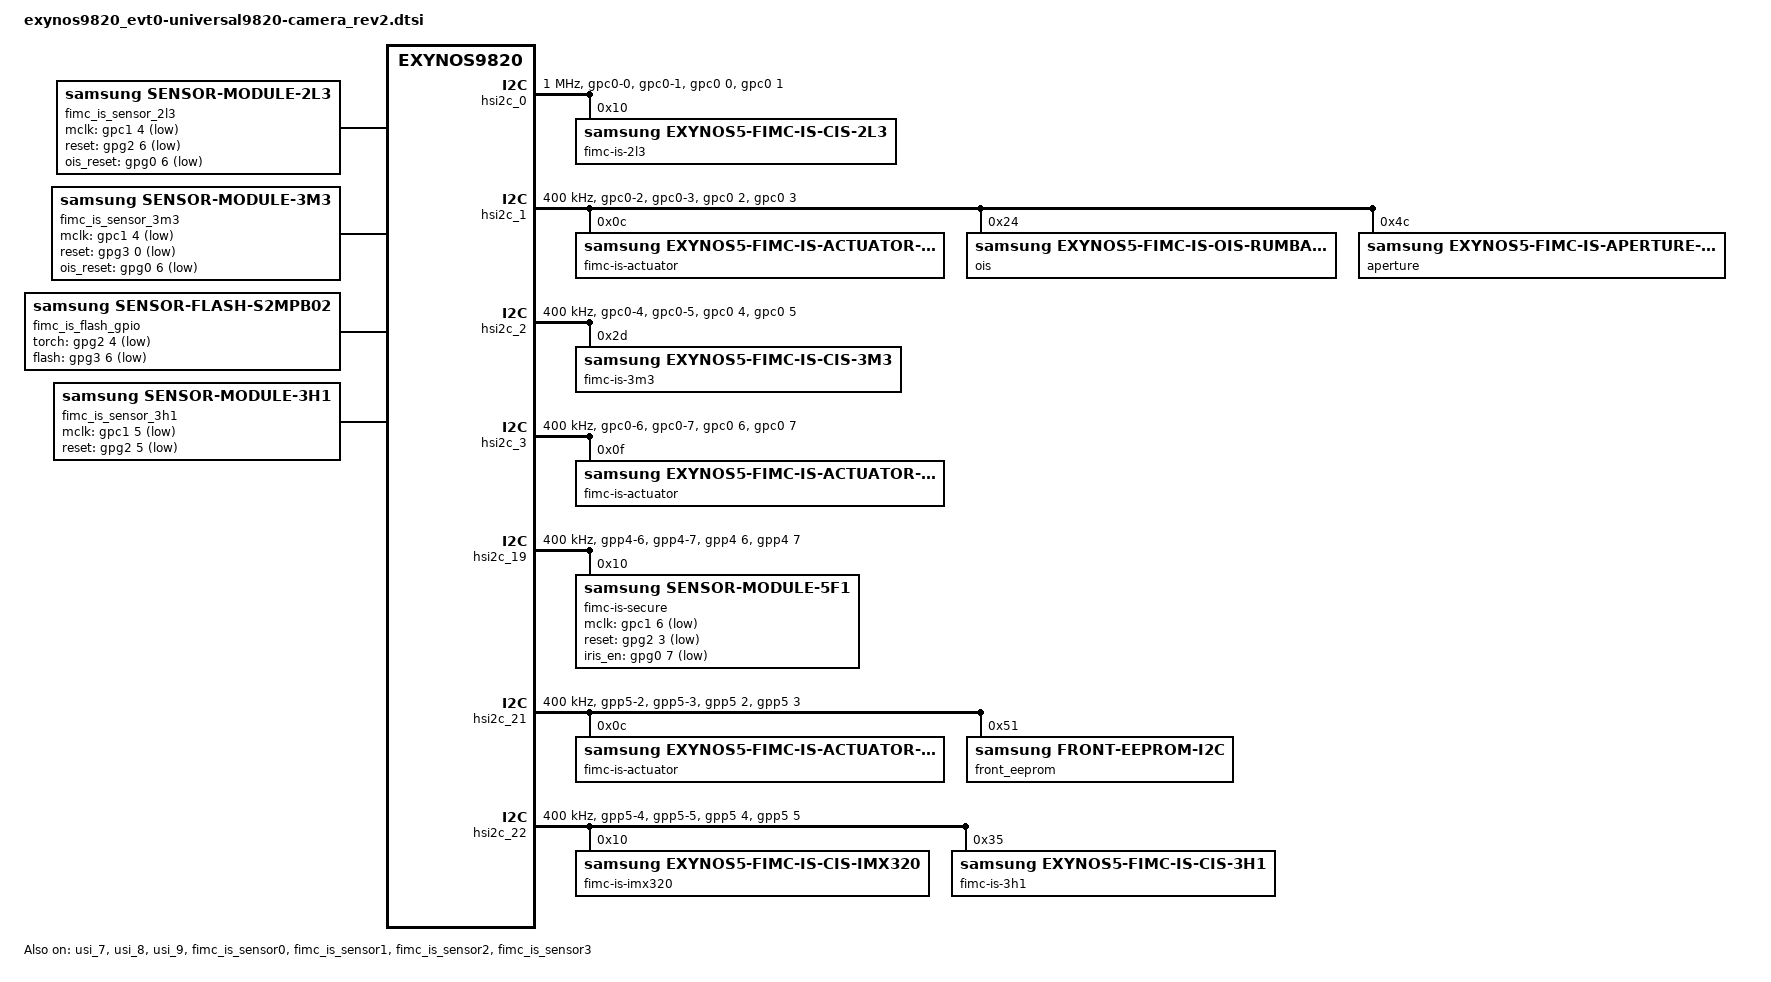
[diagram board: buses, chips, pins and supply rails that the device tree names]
/*
 * SAMSUNG EXYNOS9820 board camera device tree source
 *
 * Copyright (c) 2018 Samsung Electronics Co., Ltd.
 *		http://www.samsung.com
 *
 * This program is free software; you can redistribute it and/or modify
 * it under the terms of the GNU General Public License version 2 as
 * published by the Free Software Foundation.
*/

#include <dt-bindings/camera/fimc_is.h>

/ {
	fragment@camera {
		target-path = "/";
		__overlay__ {
			/* REAR CAMERA */
			fimc_is_sensor_2l3: fimc-is_sensor_2l3@20 {
				compatible = "samsung,sensor-module-2l3";

				pinctrl-names = "pin0", "pin1", "pin2", "release";
				pinctrl-0 = <>;
				pinctrl-1 = <&sensor_mclk0_out>;
				pinctrl-2 = <&sensor_mclk0_fn>;
				pinctrl-3 = <>;

				position = <0>;	/* Rear:0. Front:1. Rear_sub:2. Secure:3. */
				id = <0>; /* fimc_is_sensor id */
				mclk_ch = <0>;
				sensor_i2c_ch = <0>; /* XI2C_CAM0 */

				gpio_mclk = <&gpc1 4 0x1>;
				gpio_reset = <&gpg2 6 0x1>; /* sensor reset */
				gpio_ois_reset = <&gpg0 6 0x1>; /* ois reset */

				status = "okay";

				af {
					product_name = <18>; /* ACTUATOR_NAME_AK737X : ak7371 or ak7374 */
					i2c_ch = <1>; /* XI2C_CAM1 */
				};

				flash {
					product_name = <11>; /* FLASH_GPIO */
				};

				ois {
					product_name = <2>; /* RUMBA-S6 */
					i2c_addr = <0x48>;
					i2c_ch = <1>; /* XI2C_CAM1 */
				};

				aperture {
					product_name = <1>; /* ak7372 */
					i2c_addr = <0x98>;
					i2c_ch = <1>; /* XI2C_CAM1 */
				};
			};

			/* REAR2 CAMERA */
			fimc_is_sensor_3m3: fimc-is_sensor_3m3@5A {
				compatible = "samsung,sensor-module-3m3";

				pinctrl-names = "pin0", "pin1", "pin2", "release";
				pinctrl-0 = <>;
				pinctrl-1 = <>;
				pinctrl-2 = <>;
				pinctrl-3 = <>;

				position = <2>; /* Rear:0. Front:1, Tele:2 */
				id = <2>; /* fimc_is_sensor id */
				mclk_ch = <0>;
				sensor_i2c_ch = <2>; /* XI2C_CAM2 */

				gpio_mclk = <&gpc1 4 0x1>; /* mclk shared with wide-cam */
				gpio_reset = <&gpg3 0 0x1>; /* sensor reset */
				gpio_ois_reset = <&gpg0 6 0x1>; /* ois reset */

				power_seq_id = <1>;

				status = "okay";

				af {
					product_name = <18>; /* ACTUATOR_NAME_AK737X : ak7371 or ak7374 */
					i2c_ch = <3>; /* XI2C_CAM3 */
				};

				flash {
					product_name = <11>; /* FLASH_GPIO */
				};

				preprocessor {
					product_name = <100>; /* NOTHING */
				};

				ois {
					product_name = <2>; /* RUMBA-S6 */
					i2c_addr = <0x48>;
					i2c_ch = <1>; /* XI2C_CAM1 */
				};
			};

			fimc_is_flash_gpio: fimc-is-flash-gpio@0 {
				compatible = "samsung,sensor-flash-s2mpb02";
				id = <0>;
				status = "okay";

				torch-gpio = <&gpg2 4 0x1>;
				flash-gpio = <&gpg3 6 0x1>;
			};

			/* FRONT CAMERA */
			fimc_is_sensor_3h1: fimc-is_sensor_3h1@6A {
				compatible = "samsung,sensor-module-3h1";

				pinctrl-names = "pin0", "pin1", "pin2", "release";
				pinctrl-0 = <>;
				pinctrl-1 = <&sensor_mclk1_out>;
				pinctrl-2 = <&sensor_mclk1_fn>;
				pinctrl-3 = <>;

				position = <1>;	/* Rear:0. Front:1. Rear_sub:2. Secure:3. */
				id = <1>; /* fimc_is_sensor id */
				mclk_ch = <1>;
				sensor_i2c_ch = <4>; /* USI08 */

				gpio_mclk = <&gpc1 5 0x1>;
				gpio_reset = <&gpg2 5 0x1>; /* sensor reset */
				status = "okay";

				af {
					product_name = <18>; /* ACTUATOR_NAME_AK737X : ak7372 */
					i2c_ch = <5>; /* USI09 */
				};

				flash {
					product_name = <100>; /* NOTHING */
				};

				ois {
					product_name = <100>; /* NOTHING */
				};
			};
		}; /* end of __overlay__ */
	}; /* end of fragment */
}; /* end of root */

/***** reference symbol node *****/

&fimc_is {
	vender {
		rear_sensor_id = <36>; /* 2L3 : 36 */
		front_sensor_id = <31>; /* 3H1 : 31 */
		rear2_sensor_id = <33>; /* 3M3 : 33 */
		secure_sensor_id = <306>; /* 5F1 : 306 */
		use_module_check;
		use_ois;
		check_sensor_vendor;
		f_rom_power = <0>; /* 0:Wide, 1:Tele */
		ois_sensor_index = <0>;
		aperture_sensor_index = <0>;

		max_camera_num = <4>;
		camera_info0 {			// 0 : rear
			isp = <0>;		/* 0 : INT , 1 : EXT , 2 : SOC */
			cal_memory = <1>;	/* 0 : N , 1 : FROM , 2 : EEPROM , 3 : OTP  */
			read_version = <0>;	/* 0 : SYSFS , 1 : CAMON */
			core_voltage = <0>;	/* 0 : N , 1 : Y  */
			upgrade = <0>;		/* 0 : N , 1 : SYSFS , 2 : CAMON */
			fw_write = <0>;		/* 0 : N,  1 : OS, 2 : SD, 3 : ALL */
			fw_dump = <0>;		/* 0 : N , 1 : Y  */
			companion = <0>;	/* 0 : N , 1 : Y  */
			ois = <1>;		/* 0 : N , 1 : Y  */
			valid = <1>;		/* 0 : INVALID , 1 : VALID   */
		};
		camera_info1 {			// 1 : front
			isp = <0>;		/* 0 : INT , 1 : EXT , 2 : SOC */
			cal_memory = <2>;	/* 0 : N , 1 : FROM , 2 : EEPROM , 3 : OTP  */
			read_version = <0>;	/* 0 : SYSFS , 1 : CAMON */
			core_voltage = <0>;	/* 0 : N , 1 : Y  */
			upgrade = <0>;		/* 0 : N , 1 : SYSFS , 2 : CAMON */
			fw_write = <0>;		/* 0 : N,  1 : OS, 2 : SD, 3 : ALL */
			fw_dump = <0>;		/* 0 : N , 1 : Y  */
			companion = <0>;	/* 0 : N , 1 : Y  */
			ois = <0>;		/* 0 : N , 1 : Y  */
			valid = <1>;		/* 0 : INVALID , 1 : VALID   */
		};
		camera_info2 {			// 2 : tele
			isp = <0>;              /* 0 : INT , 1 : EXT , 2 : SOC */
			cal_memory = <1>;       /* 0 : N , 1 : FROM , 2 : EEPROM , 3 : OTP  */
			read_version = <0>;     /* 0 : SYSFS , 1 : CAMON */
			core_voltage = <0>;     /* 0 : N , 1 : Y  */
			upgrade = <0>;          /* 0 : N , 1 : SYSFS , 2 : CAMON */
			fw_write = <0>;         /* 0 : N,  1 : OS, 2 : SD, 3 : ALL */
			fw_dump = <0>;          /* 0 : N , 1 : Y  */
			companion = <0>;        /* 0 : N , 1 : Y  */
			ois = <1>;              /* 0 : N , 1 : Y  */
			valid = <1>;            /* 0 : INVALID , 1 : VALID   */
		};
		camera_info3 {			// 3 : iris
			isp = <2>;		/* 0 : INT , 1 : EXT , 2 : SOC */
			cal_memory = <0>;	/* 0 : N , 1 : FROM , 2 : EEPROM , 3 : OTP  */
			read_version = <1>;	/* 0 : SYSFS , 1 : CAMON */
			core_voltage = <0>;	/* 0 : N , 1 : Y  */
			upgrade = <0>;		/* 0 : N , 1 : SYSFS , 2 : CAMON */
			fw_write = <0>;		/* 0 : N,  1 : OS, 2 : SD, 3 : ALL */
			fw_dump = <0>;		/* 0 : N , 1 : Y  */
			companion = <0>;	/* 0 : N , 1 : Y  */
			ois = <0>;		/* 0 : N , 1 : Y  */
			valid = <1>;		/* 0 : INVALID , 1 : VALID   */
		};
	};

	fimc_is_dvfs {
		#define DVFS_INT_CAM_L0 690000
		#define DVFS_INT_CAM_L1 680000
		#define DVFS_INT_CAM_L2 670000
		#define DVFS_INT_CAM_L3 660000
		#define DVFS_INT_CAM_L4 650000

		#define DVFS_INT_L0 534000
		#define DVFS_INT_L1 400000
		#define DVFS_INT_L2 267000
		#define DVFS_INT_L3 200000
		#define DVFS_INT_L4 100000

		#define DVFS_CAM_L0 690000
		#define DVFS_CAM_L1 680000
		#define DVFS_CAM_L2 670000
		#define DVFS_CAM_L3 660000
		#define DVFS_CAM_L4 650000

		#define DVFS_MIF_L0 2094000
		#define DVFS_MIF_L1 2093000
		#define DVFS_MIF_L2 1794000
		#define DVFS_MIF_L3 1539000
		#define DVFS_MIF_L4 1352000
		#define DVFS_MIF_L5 1014000
		#define DVFS_MIF_L6 845000
		#define DVFS_MIF_L7 676000
		#define DVFS_MIF_L8 546000
		#define DVFS_MIF_L9 421000

		table0 {
			desc = "dvfs table v0.2 for 12M/8M";

			default_int_cam = <DVFS_INT_CAM_L0>;
			default_cam = <DVFS_CAM_L0>;
			default_mif = <DVFS_MIF_L0>;
			default_int = <DVFS_INT_L4>;
			default_hpg = <1>;

			front2_preview_int_cam = <DVFS_INT_CAM_L3>;
			front2_preview_cam = <DVFS_CAM_L3>;
			front2_preview_mif = <DVFS_MIF_L4>;
			front2_preview_int = <DVFS_INT_L4>;
			front2_preview_hpg = <1>;

			front2_capture_int_cam = <DVFS_INT_CAM_L3>;
			front2_capture_cam = <DVFS_CAM_L3>;
			front2_capture_mif = <DVFS_MIF_L4>;
			front2_capture_int = <DVFS_INT_L4>;
			front2_capture_hpg = <1>;

			front2_video_int_cam = <DVFS_INT_CAM_L3>;
			front2_video_cam = <DVFS_CAM_L3>;
			front2_video_mif = <DVFS_MIF_L4>;
			front2_video_int = <DVFS_INT_L4>;
			front2_video_hpg = <1>;

			front2_video_capture_int_cam = <DVFS_INT_CAM_L3>;
			front2_video_capture_cam = <DVFS_CAM_L3>;
			front2_video_capture_mif = <DVFS_MIF_L4>;
			front2_video_capture_int = <DVFS_INT_L4>;
			front2_video_capture_hpg = <1>;

			front_preview_int_cam = <DVFS_INT_CAM_L3>;
			front_preview_cam = <DVFS_CAM_L3>;
			front_preview_mif = <DVFS_MIF_L4>;
			front_preview_int = <DVFS_INT_L4>;
			front_preview_hpg = <1>;

			front_preview_full_int_cam = <DVFS_INT_CAM_L3>;
			front_preview_full_cam = <DVFS_CAM_L3>;
			front_preview_full_mif = <DVFS_MIF_L4>;
			front_preview_full_int = <DVFS_INT_L4>;
			front_preview_full_hpg = <1>;

			front_capture_int_cam = <DVFS_INT_CAM_L3>;
			front_capture_cam = <DVFS_CAM_L3>;
			front_capture_mif = <DVFS_MIF_L4>;
			front_capture_int = <DVFS_INT_L4>;
			front_capture_hpg = <1>;

			front_video_int_cam = <DVFS_INT_CAM_L3>;
			front_video_cam = <DVFS_CAM_L3>;
			front_video_mif = <DVFS_MIF_L4>;
			front_video_int = <DVFS_INT_L4>;
			front_video_hpg = <1>;

			front_video_whd_int_cam = <DVFS_INT_CAM_L3>;
			front_video_whd_cam = <DVFS_CAM_L3>;
			front_video_whd_mif = <DVFS_MIF_L4>;
			front_video_whd_int = <DVFS_INT_L4>;
			front_video_whd_hpg = <1>;

			front_video_capture_int_cam = <DVFS_INT_CAM_L3>;
			front_video_capture_cam = <DVFS_CAM_L3>;
			front_video_capture_mif = <DVFS_MIF_L4>;
			front_video_capture_int = <DVFS_INT_L4>;
			front_video_capture_hpg = <1>;

			front_video_whd_capture_int_cam = <DVFS_INT_CAM_L3>;
			front_video_whd_capture_cam = <DVFS_CAM_L3>;
			front_video_whd_capture_mif = <DVFS_MIF_L4>;
			front_video_whd_capture_int = <DVFS_INT_L4>;
			front_video_whd_capture_hpg = <1>;

			front_dual_sync_preview_int_cam = <DVFS_INT_CAM_L1>;
			front_dual_sync_preview_cam = <DVFS_CAM_L1>;
			front_dual_sync_preview_mif = <DVFS_MIF_L4>;
			front_dual_sync_preview_int = <DVFS_INT_L4>;
			front_dual_sync_preview_hpg = <1>;

			front_dual_sync_capture_int_cam = <DVFS_INT_CAM_L1>;
			front_dual_sync_capture_cam = <DVFS_CAM_L1>;
			front_dual_sync_capture_mif = <DVFS_MIF_L3>;
			front_dual_sync_capture_int = <DVFS_INT_L4>;
			front_dual_sync_capture_hpg = <1>;

			front_dual_sync_video_fhd_int_cam = <DVFS_INT_CAM_L1>;
			front_dual_sync_video_fhd_cam = <DVFS_CAM_L1>;
			front_dual_sync_video_fhd_mif = <DVFS_MIF_L4>;
			front_dual_sync_video_fhd_int = <DVFS_INT_L4>;
			front_dual_sync_video_fhd_hpg = <1>;

			front_dual_sync_video_fhd_capture_int_cam = <DVFS_INT_CAM_L1>;
			front_dual_sync_video_fhd_capture_cam = <DVFS_CAM_L1>;
			front_dual_sync_video_fhd_capture_mif = <DVFS_MIF_L3>;
			front_dual_sync_video_fhd_capture_int = <DVFS_INT_L4>;
			front_dual_sync_video_fhd_capture_hpg = <1>;

			front_vt1_int_cam = <DVFS_INT_CAM_L3>;
			front_vt1_cam = <DVFS_CAM_L3>;
			front_vt1_mif = <DVFS_MIF_L4>;
			front_vt1_int = <DVFS_INT_L4>;
			front_vt1_hpg = <1>;

			front_vt2_int_cam = <DVFS_INT_CAM_L3>;
			front_vt2_cam = <DVFS_CAM_L3>;
			front_vt2_mif = <DVFS_MIF_L4>;
			front_vt2_int = <DVFS_INT_L4>;
			front_vt2_hpg = <1>;

			front_vt4_int_cam = <DVFS_INT_CAM_L3>;
			front_vt4_cam = <DVFS_CAM_L3>;
			front_vt4_mif = <DVFS_MIF_L4>;
			front_vt4_int = <DVFS_INT_L4>;
			front_vt4_hpg = <1>;

			front_preview_high_speed_fps_int_cam = <DVFS_INT_CAM_L3>;
			front_preview_high_speed_fps_cam = <DVFS_CAM_L3>;
			front_preview_high_speed_fps_mif = <DVFS_MIF_L4>;
			front_preview_high_speed_fps_int = <DVFS_INT_L4>;
			front_preview_high_speed_fps_hpg = <1>;

			rear2_preview_fhd_int_cam = <DVFS_INT_CAM_L3>;
			rear2_preview_fhd_cam = <DVFS_CAM_L1>;
			rear2_preview_fhd_mif = <DVFS_MIF_L4>;
			rear2_preview_fhd_int = <DVFS_INT_L4>;
			rear2_preview_fhd_hpg = <1>;

			rear2_capture_int_cam = <DVFS_INT_CAM_L1>;
			rear2_capture_cam = <DVFS_CAM_L1>;
			rear2_capture_mif = <DVFS_MIF_L4>;
			rear2_capture_int = <DVFS_INT_L4>;
			rear2_capture_hpg = <1>;

			rear2_video_fhd_int_cam = <DVFS_INT_CAM_L3>;
			rear2_video_fhd_cam = <DVFS_CAM_L1>;
			rear2_video_fhd_mif = <DVFS_MIF_L4>;
			rear2_video_fhd_int = <DVFS_INT_L4>;
			rear2_video_fhd_hpg = <1>;

			rear2_video_fhd_capture_int_cam = <DVFS_INT_CAM_L1>;
			rear2_video_fhd_capture_cam = <DVFS_CAM_L1>;
			rear2_video_fhd_capture_mif = <DVFS_MIF_L4>;
			rear2_video_fhd_capture_int = <DVFS_INT_L4>;
			rear2_video_fhd_capture_hpg = <1>;

			rear_preview_fhd_int_cam = <DVFS_INT_CAM_L3>;
			rear_preview_fhd_cam = <DVFS_CAM_L1>;
			rear_preview_fhd_mif = <DVFS_MIF_L4>;
			rear_preview_fhd_int = <DVFS_INT_L4>;
			rear_preview_fhd_hpg = <1>;

			rear_preview_whd_int_cam = <DVFS_INT_CAM_L3>;
			rear_preview_whd_cam = <DVFS_CAM_L1>;
			rear_preview_whd_mif = <DVFS_MIF_L4>;
			rear_preview_whd_int = <DVFS_INT_L4>;
			rear_preview_whd_hpg = <1>;

			rear_preview_uhd_int_cam = <DVFS_INT_CAM_L3>;
			rear_preview_uhd_cam = <DVFS_CAM_L1>;
			rear_preview_uhd_mif = <DVFS_MIF_L4>;
			rear_preview_uhd_int = <DVFS_INT_L4>;
			rear_preview_uhd_hpg = <1>;

			rear_preview_uhd_60fps_int_cam = <DVFS_INT_CAM_L1>;
			rear_preview_uhd_60fps_cam = <DVFS_CAM_L1>;
			rear_preview_uhd_60fps_mif = <DVFS_MIF_L3>;
			rear_preview_uhd_60fps_int = <DVFS_INT_L4>;
			rear_preview_uhd_60fps_hpg = <1>;

			rear_preview_full_int_cam = <DVFS_INT_CAM_L3>;
			rear_preview_full_cam = <DVFS_CAM_L1>;
			rear_preview_full_mif = <DVFS_MIF_L4>;
			rear_preview_full_int = <DVFS_INT_L4>;
			rear_preview_full_hpg = <1>;

			rear_capture_int_cam = <DVFS_INT_CAM_L1>;
			rear_capture_cam = <DVFS_CAM_L1>;
			rear_capture_mif = <DVFS_MIF_L4>;
			rear_capture_int = <DVFS_INT_L4>;
			rear_capture_hpg = <1>;

			rear_video_fhd_int_cam = <DVFS_INT_CAM_L3>;
			rear_video_fhd_cam = <DVFS_CAM_L1>;
			rear_video_fhd_mif = <DVFS_MIF_L4>;
			rear_video_fhd_int = <DVFS_INT_L4>;
			rear_video_fhd_hpg = <1>;

			rear_video_whd_int_cam = <DVFS_INT_CAM_L3>;
			rear_video_whd_cam = <DVFS_CAM_L1>;
			rear_video_whd_mif = <DVFS_MIF_L4>;
			rear_video_whd_int = <DVFS_INT_L4>;
			rear_video_whd_hpg = <1>;

			rear_video_uhd_int_cam = <DVFS_INT_CAM_L3>;
			rear_video_uhd_cam = <DVFS_CAM_L1>;
			rear_video_uhd_mif = <DVFS_MIF_L4>;
			rear_video_uhd_int = <DVFS_INT_L4>;
			rear_video_uhd_hpg = <1>;

			rear_video_uhd_60fps_int_cam = <DVFS_INT_CAM_L1>;
			rear_video_uhd_60fps_cam = <DVFS_CAM_L1>;
			rear_video_uhd_60fps_mif = <DVFS_MIF_L3>;
			rear_video_uhd_60fps_int = <DVFS_INT_L4>;
			rear_video_uhd_60fps_hpg = <1>;

			rear_video_fhd_capture_int_cam = <DVFS_INT_CAM_L1>;
			rear_video_fhd_capture_cam = <DVFS_CAM_L1>;
			rear_video_fhd_capture_mif = <DVFS_MIF_L4>;
			rear_video_fhd_capture_int = <DVFS_INT_L4>;
			rear_video_fhd_capture_hpg = <1>;

			rear_video_whd_capture_int_cam = <DVFS_INT_CAM_L1>;
			rear_video_whd_capture_cam = <DVFS_CAM_L1>;
			rear_video_whd_capture_mif = <DVFS_MIF_L4>;
			rear_video_whd_capture_int = <DVFS_INT_L4>;
			rear_video_whd_capture_hpg = <1>;

			rear_video_uhd_capture_int_cam = <DVFS_INT_CAM_L1>;
			rear_video_uhd_capture_cam = <DVFS_CAM_L1>;
			rear_video_uhd_capture_mif = <DVFS_MIF_L4>;
			rear_video_uhd_capture_int = <DVFS_INT_L4>;
			rear_video_uhd_capture_hpg = <1>;

			dual_preview_int_cam = <DVFS_INT_CAM_L3>;
			dual_preview_cam = <DVFS_CAM_L1>;
			dual_preview_mif = <DVFS_MIF_L4>;
			dual_preview_int = <DVFS_INT_L4>;
			dual_preview_hpg = <1>;

			dual_capture_int_cam = <DVFS_INT_CAM_L1>;
			dual_capture_cam = <DVFS_CAM_L1>;
			dual_capture_mif = <DVFS_MIF_L4>;
			dual_capture_int = <DVFS_INT_L4>;
			dual_capture_hpg = <1>;

			dual_video_fhd_int_cam = <DVFS_INT_CAM_L3>;
			dual_video_fhd_cam = <DVFS_CAM_L1>;
			dual_video_fhd_mif = <DVFS_MIF_L4>;
			dual_video_fhd_int = <DVFS_INT_L4>;
			dual_video_fhd_hpg = <1>;

			dual_video_fhd_capture_int_cam = <DVFS_INT_CAM_L1>;
			dual_video_fhd_capture_cam = <DVFS_CAM_L1>;
			dual_video_fhd_capture_mif = <DVFS_MIF_L4>;
			dual_video_fhd_capture_int = <DVFS_INT_L4>;
			dual_video_fhd_capture_hpg = <1>;

			dual_video_uhd_int_cam = <DVFS_INT_CAM_L3>;
			dual_video_uhd_cam = <DVFS_CAM_L1>;
			dual_video_uhd_mif = <DVFS_MIF_L4>;
			dual_video_uhd_int = <DVFS_INT_L4>;
			dual_video_uhd_hpg = <1>;

			dual_video_uhd_capture_int_cam = <DVFS_INT_CAM_L1>;
			dual_video_uhd_capture_cam = <DVFS_CAM_L1>;
			dual_video_uhd_capture_mif = <DVFS_MIF_L4>;
			dual_video_uhd_capture_int = <DVFS_INT_L4>;
			dual_video_uhd_capture_hpg = <1>;

			dual_sync_preview_int_cam = <DVFS_INT_CAM_L1>;
			dual_sync_preview_cam = <DVFS_CAM_L1>;
			dual_sync_preview_mif = <DVFS_MIF_L4>;
			dual_sync_preview_int = <DVFS_INT_L4>;
			dual_sync_preview_hpg = <1>;

			dual_sync_capture_int_cam = <DVFS_INT_CAM_L1>;
			dual_sync_capture_cam = <DVFS_CAM_L1>;
			dual_sync_capture_mif = <DVFS_MIF_L3>;
			dual_sync_capture_int = <DVFS_INT_L4>;
			dual_sync_capture_hpg = <1>;

			dual_sync_preview_whd_int_cam = <DVFS_INT_CAM_L1>;
			dual_sync_preview_whd_cam = <DVFS_CAM_L1>;
			dual_sync_preview_whd_mif = <DVFS_MIF_L3>;
			dual_sync_preview_whd_int = <DVFS_INT_L4>;
			dual_sync_preview_whd_hpg = <1>;

			dual_sync_whd_capture_int_cam = <DVFS_INT_CAM_L1>;
			dual_sync_whd_capture_cam = <DVFS_CAM_L1>;
			dual_sync_whd_capture_mif = <DVFS_MIF_L3>;
			dual_sync_whd_capture_int = <DVFS_INT_L4>;
			dual_sync_whd_capture_hpg = <1>;

			dual_sync_video_fhd_int_cam = <DVFS_INT_CAM_L1>;
			dual_sync_video_fhd_cam = <DVFS_CAM_L1>;
			dual_sync_video_fhd_mif = <DVFS_MIF_L4>;
			dual_sync_video_fhd_int = <DVFS_INT_L4>;
			dual_sync_video_fhd_hpg = <1>;

			dual_sync_video_fhd_capture_int_cam = <DVFS_INT_CAM_L1>;
			dual_sync_video_fhd_capture_cam = <DVFS_CAM_L1>;
			dual_sync_video_fhd_capture_mif = <DVFS_MIF_L3>;
			dual_sync_video_fhd_capture_int = <DVFS_INT_L4>;
			dual_sync_video_fhd_capture_hpg = <1>;

			dual_sync_video_uhd_int_cam = <DVFS_INT_CAM_L1>;
			dual_sync_video_uhd_cam = <DVFS_CAM_L1>;
			dual_sync_video_uhd_mif = <DVFS_MIF_L4>;
			dual_sync_video_uhd_int = <DVFS_INT_L4>;
			dual_sync_video_uhd_hpg = <1>;

			dual_sync_video_uhd_capture_int_cam = <DVFS_INT_CAM_L1>;
			dual_sync_video_uhd_capture_cam = <DVFS_CAM_L1>;
			dual_sync_video_uhd_capture_mif = <DVFS_MIF_L3>;
			dual_sync_video_uhd_capture_int = <DVFS_INT_L4>;
			dual_sync_video_uhd_capture_hpg = <1>;

			secure_front_int_cam = <DVFS_INT_CAM_L3>;
			secure_front_cam = <DVFS_CAM_L3>;
			secure_front_mif = <DVFS_MIF_L4>;
			secure_front_int = <DVFS_INT_L4>;
			secure_front_hpg = <1>;

			pip_preview_int_cam = <DVFS_INT_CAM_L1>;
			pip_preview_cam = <DVFS_CAM_L1>;
			pip_preview_mif = <DVFS_MIF_L4>;
			pip_preview_int = <DVFS_INT_L4>;
			pip_preview_hpg = <1>;

			pip_capture_int_cam = <DVFS_INT_CAM_L1>;
			pip_capture_cam = <DVFS_CAM_L1>;
			pip_capture_mif = <DVFS_MIF_L4>;
			pip_capture_int = <DVFS_INT_L4>;
			pip_capture_hpg = <1>;

			pip_video_int_cam = <DVFS_INT_CAM_L1>;
			pip_video_cam = <DVFS_CAM_L1>;
			pip_video_mif = <DVFS_MIF_L4>;
			pip_video_int = <DVFS_INT_L4>;
			pip_video_hpg = <1>;

			pip_video_capture_int_cam = <DVFS_INT_CAM_L1>;
			pip_video_capture_cam = <DVFS_CAM_L1>;
			pip_video_capture_mif = <DVFS_MIF_L4>;
			pip_video_capture_int = <DVFS_INT_L4>;
			pip_video_capture_hpg = <1>;

			preview_high_speed_fps_int_cam = <DVFS_INT_CAM_L3>;
			preview_high_speed_fps_cam = <DVFS_CAM_L1>;
			preview_high_speed_fps_mif = <DVFS_MIF_L4>;
			preview_high_speed_fps_int = <DVFS_INT_L4>;
			preview_high_speed_fps_hpg = <1>;

			video_high_speed_60fps_int_cam = <DVFS_INT_CAM_L1>;
			video_high_speed_60fps_cam = <DVFS_CAM_L1>;
			video_high_speed_60fps_mif = <DVFS_MIF_L4>;
			video_high_speed_60fps_int = <DVFS_INT_L4>;
			video_high_speed_60fps_hpg = <1>;

			video_high_speed_120fps_int_cam = <DVFS_INT_CAM_L3>;
			video_high_speed_120fps_cam = <DVFS_CAM_L1>;
			video_high_speed_120fps_mif = <DVFS_MIF_L4>;
			video_high_speed_120fps_int = <DVFS_INT_L4>;
			video_high_speed_120fps_hpg = <1>;

			video_high_speed_240fps_int_cam = <DVFS_INT_CAM_L1>;
			video_high_speed_240fps_cam = <DVFS_CAM_L1>;
			video_high_speed_240fps_mif = <DVFS_MIF_L3>;
			video_high_speed_240fps_int = <DVFS_INT_L4>;
			video_high_speed_240fps_hpg = <1>;

			video_high_speed_dualfps_int_cam = <DVFS_INT_CAM_L1>;
			video_high_speed_dualfps_cam = <DVFS_CAM_L1>;
			video_high_speed_dualfps_mif = <DVFS_MIF_L3>;
			video_high_speed_dualfps_int = <DVFS_INT_L4>;
			video_high_speed_dualfps_hpg = <6>;

			video_high_speed_60fps_capture_int_cam = <DVFS_INT_CAM_L1>;
			video_high_speed_60fps_capture_cam = <DVFS_CAM_L1>;
			video_high_speed_60fps_capture_mif = <DVFS_MIF_L3>;
			video_high_speed_60fps_capture_int = <DVFS_INT_L4>;
			video_high_speed_60fps_capture_hpg = <1>;

			ext_front_int_cam = <DVFS_INT_CAM_L0>;
			ext_front_cam = <DVFS_CAM_L0>;
			ext_front_mif = <DVFS_MIF_L0>;
			ext_front_int = <DVFS_INT_L0>;
			ext_front_hpg = <1>;

			ext_secure_int_cam = <DVFS_INT_CAM_L4>;
			ext_secure_cam = <DVFS_CAM_L4>;
			ext_secure_mif = <DVFS_MIF_L4>;
			ext_secure_int = <DVFS_INT_L4>;
			ext_secure_hpg = <1>;

			max_int_cam = <DVFS_INT_CAM_L0>;
			max_cam = <DVFS_CAM_L0>;
			max_mif = <DVFS_MIF_L0>;
			max_int = <DVFS_INT_L0>;
			max_hpg = <1>;
		};
	};
};

&pinctrl_6 {
	/* PERIC1 CAM0 */
	hsi2c0_bus_in: hsi2c0-bus-in {
		samsung,pins = "gpc0-0", "gpc0-1";
		samsung,pin-function = <0>;
		samsung,pin-pud = <0>;
		samsung,pin-drv = <0>;
	};

	/* PERIC1 CAM1 */
	hsi2c1_bus_in: hsi2c1-bus-in {
		samsung,pins = "gpc0-2", "gpc0-3";
		samsung,pin-function = <0>;
		samsung,pin-pud = <0>;
		samsung,pin-drv = <0>;
	};

	/* PERIC1 CAM2 */
	hsi2c2_bus_in: hsi2c2-bus-in {
		samsung,pins = "gpc0-4", "gpc0-5";
		samsung,pin-function = <0>;
		samsung,pin-pud = <0>;
		samsung,pin-drv = <0>;
	};

	/* PERIC1 CAM3 */
	hsi2c3_bus_in: hsi2c3-bus-in {
		samsung,pins = "gpc0-6", "gpc0-7";
		samsung,pin-function = <0>;
		samsung,pin-pud = <0>;
		samsung,pin-drv = <0>;
	};

	/* PERIC1 USI07_I2C */
	hsi2c19_bus_in: hsi2c19-bus-in {
		samsung,pins = "gpp4-6", "gpp4-7";
		samsung,pin-function = <0>;
		samsung,pin-pud = <0>;
		samsung,pin-drv = <0>;
	};

	/* PERIC1 USI08_I2C */
	hsi2c21_bus_in: hsi2c21-bus-in {
		samsung,pins = "gpp5-2", "gpp5-3";
		samsung,pin-function = <0>;
		samsung,pin-pud = <0>;
		samsung,pin-drv = <0>;
	};

	/* PERIC1 USI09 */
	hsi2c22_bus_in: hsi2c22-bus-in {
		samsung,pins = "gpp5-4", "gpp5-5";
		samsung,pin-function = <0>;
		samsung,pin-pud = <0>;
		samsung,pin-drv = <0>;
	};
};

&usi_7 {
	usi_v2_mode = "i2c";
	status = "okay";
};

&usi_8 {
	usi_v2_mode = "i2c";
	status = "okay";
};

&usi_9 {
	usi_v2_mode = "i2c";
	status = "okay";
};

/* PERIC1 CAM0 */
&hsi2c_0 {
	#address-cells = <1>;
	#size-cells = <0>;
	gpios = <&gpc0 0 0 &gpc0 1 0>;
	status = "okay";
	clock-frequency = <1000000>;
	samsung,reset-before-trans;

	pinctrl-names = "default","on_i2c","off_i2c";
	pinctrl-0 = <&hsi2c0_bus_in>;
	pinctrl-1 = <&hsi2c0_bus>;
	pinctrl-2 = <&hsi2c0_bus_in>;

	fimc-is-2l3@10 {
		compatible = "samsung,exynos5-fimc-is-cis-2l3";
		reg = <0x10>; /* 1 bit right shift */
		id = <0>; /* matching fimc_is_sensor id */
		setfile = "setB";
	};
};

/* PERIC1 CAM1 */
&hsi2c_1 {
	#address-cells = <1>;
	#size-cells = <0>;
	gpios = <&gpc0 2 0 &gpc0 3 0>;
	status = "okay";
	clock-frequency = <400000>;
	samsung,reset-before-trans;

	pinctrl-names = "default","on_i2c","off_i2c";
	pinctrl-0 = <&hsi2c1_bus_in>;
	pinctrl-1 = <&hsi2c1_bus>;
	pinctrl-2 = <&hsi2c1_bus_in>;

	fimc-is-actuator@0C {
		compatible = "samsung,exynos5-fimc-is-actuator-ak737x";
		reg = <0x0C>;
		id = <0>; /* matching fimc_is_sensor id */
		/* AK7372: addr 0x03, data 0x0C */
		/* AK7371: addr 0x03, data 0x09 */
		/* STAR AK7371 or AK7374: addr 0xF3, data 0x0E */
		vendor_product_id = <0xF3 0x0E 0x03 0x09 0x03 0x0E>;
		vendor_first_pos = <120>;
		vendor_first_delay = <2000>;
	};

	ois@24 {
		compatible = "samsung,exynos5-fimc-is-ois-rumbaS6";
		reg = <0x24>;
		id = <0 2>;
	};

	aperture@4C {
		compatible = "samsung,exynos5-fimc-is-aperture-ak7372";
		reg = <0x4C>;
		id = <0>;
	};
};

/* PERIC1 CAM2 */
&hsi2c_2 {
	#address-cells = <1>;
	#size-cells = <0>;
	gpios = <&gpc0 4 0 &gpc0 5 0>;
	status = "okay";
	clock-frequency = <400000>;
	samsung,reset-before-trans;

	pinctrl-names = "default","on_i2c","off_i2c";
	pinctrl-0 = <&hsi2c2_bus_in>;
	pinctrl-1 = <&hsi2c2_bus>;
	pinctrl-2 = <&hsi2c2_bus_in>;

	fimc-is-3m3@2D {
		compatible = "samsung,exynos5-fimc-is-cis-3m3";
		reg = <0x2D>; /* 1 bit right shift */
		id = <2>; /* matching fimc_is_sensor id */
		setfile = "setA";
	};
};

/* PERI1 CAM3 */
&hsi2c_3 {
	#address-cells = <1>;
	#size-cells = <0>;
	gpios = <&gpc0 6 0 &gpc0 7 0>;
	status = "okay";
	clock-frequency = <400000>;
	samsung,reset-before-trans;

	pinctrl-names = "default","on_i2c","off_i2c";
	pinctrl-0 = <&hsi2c3_bus_in>;
	pinctrl-1 = <&hsi2c3_bus>;
	pinctrl-2 = <&hsi2c3_bus_in>;

	fimc-is-actuator@0F {
		compatible = "samsung,exynos5-fimc-is-actuator-ak737x";
		reg = <0x0F>;
		id = <2>; /* matching sensor id */
		/* AK7372: addr 0x03, data 0x0C */
		/* AK7371: addr 0x03, data 0x09 */
		/* STAR AK7371 or AK7374: addr 0xF3, data 0x0E */
		vendor_product_id = <0xF3 0x0E 0x03 0x09 0x03 0x0E>;
		vendor_first_pos = <120>;
		vendor_first_delay = <2000>;
	};
};

/* USI07_USI_I2C */
&hsi2c_19 {
	#address-cells = <1>;
	#size-cells = <0>;
	gpios = <&gpp4 6 0 &gpp4 7 0>;
	status = "okay";
	clock-frequency = <400000>;
	samsung,reset-before-trans;
	/* secure-mode;  flag for secure gpio recover function */

	pinctrl-names = "default","on_i2c","off_i2c";
	pinctrl-0 = <&hsi2c19_bus_in>;
	pinctrl-1 = <&hsi2c19_bus>;
	pinctrl-2 = <&hsi2c19_bus_in>;

	fimc-is-secure@10 {
		compatible = "samsung,sensor-module-5f1";

		pinctrl-names = "pin0", "pin1", "pin2", "release";
		pinctrl-0 = <>;
		pinctrl-1 = <&sensor_mclk2_out>;
		pinctrl-2 = <&sensor_mclk2_fn>;
		pinctrl-3 = <>;

		position = <3>;	/* Rear:0. Front:1. Rear_sub:2. Secure:3. */
		reg = <0x10>;
		id = <3>; /* fimc_is_sensor id */
		mclk_ch = <2>;
		sensor_i2c_ch = <6>; /* SENSOR_CONTROL_I2C6 */
		hw_version = <1>;

		gpio_mclk = <&gpc1 6 0x1>;
		gpio_reset = <&gpg2 3 0x1>; /* sensor reset */
		gpio_iris_en = <&gpg0 7 0x1>;
		status = "okay";
	};
};

/* USI08_USI_I2C */
&hsi2c_21 {
	#address-cells = <1>;
	#size-cells = <0>;
	gpios = <&gpp5 2 0 &gpp5 3 0>;
	status = "okay";
	clock-frequency = <400000>;
	samsung,reset-before-trans;

	pinctrl-names = "default","on_i2c","off_i2c";
	pinctrl-0 = <&hsi2c21_bus_in>;
	pinctrl-1 = <&hsi2c21_bus>;
	pinctrl-2 = <&hsi2c21_bus_in>;

	fimc-is-actuator@0C {
		compatible = "samsung,exynos5-fimc-is-actuator-ak737x";
		reg = <0x0C>;
		id = <1>; /* matching fimc_is_sensor id */
		/* AK7372: addr 0x03, data 0x0C */
		/* AK7371: addr 0x03, data 0x09 */
		/* STAR AK7371 or AK7374: addr 0xF3, data 0x0E */
		vendor_product_id = <0x03 0x0C>;
		vendor_first_pos = <120>;
		vendor_first_delay = <10000>;
	};

	front_eeprom@51 {
		compatible = "samsung,front-eeprom-i2c";
		reg = <0x51>;
	};
};

/* USI09_USI */
&hsi2c_22 {
	#address-cells = <1>;
	#size-cells = <0>;
	gpios = <&gpp5 4 0 &gpp5 5 0>;
	status = "okay";
	clock-frequency = <400000>;
	samsung,reset-before-trans;

	pinctrl-names = "default","on_i2c","off_i2c";
	pinctrl-0 = <&hsi2c22_bus_in>;
	pinctrl-1 = <&hsi2c22_bus>;
	pinctrl-2 = <&hsi2c22_bus_in>;

	fimc-is-imx320@10 {
		compatible = "samsung,exynos5-fimc-is-cis-imx320";
		reg = <0x10>; /* 1 bit right shift */
		id = <1>; /* matching sensor id */
		setfile = "default";
	};

	fimc-is-3h1@35 {
		compatible = "samsung,exynos5-fimc-is-cis-3h1";
		reg = <0x35>; /* 1 bit right shift */
		id = <1>; /* matching fimc_is_sensor id */
		setfile = "default";
	};
};

&fimc_is_sensor0 {
	scenario = <SENSOR_SCENARIO_NORMAL>;	/* Normal, Vision, OIS etc */
	id = <0>;
	csi_ch = <0>;
	dma_ch = <0 0 0 0 0 4 4 4>;
	vc_ch = <0 1 2 3 0 1 2 3>;
	flite_ch = <FLITE_ID_NOTHING>;
	is_bns = <0>;
	use_ssvc2_internal;
	use_ssvc3_internal;
	status = "okay";
};

&fimc_is_sensor1 {
	scenario = <SENSOR_SCENARIO_NORMAL>;	/* Normal, Vision, OIS etc */
	id = <1>;
	csi_ch = <1>;
	dma_ch = <1 1 1 1>;
	vc_ch = <0 1 2 3>;
	flite_ch = <FLITE_ID_NOTHING>;
	is_bns = <0>;
	status = "okay";
};

&fimc_is_sensor2 {
	scenario = <SENSOR_SCENARIO_NORMAL>;	/* Normal, Vision, OIS etc */
	id = <2>;
	csi_ch = <2>;
	dma_ch = <2 2 2 2>;
	vc_ch = <0 1 2 3>;
	flite_ch = <FLITE_ID_NOTHING>;
	use_ssvc1_internal;
	is_bns = <0>;
	status = "okay";
};

&fimc_is_sensor3 {
	scenario = <SENSOR_SCENARIO_SECURE>;	/* Normal, Vision, OIS etc */
	id = <3>;
	csi_ch = <3>;
	dma_ch = <3 3 3 3>;
	vc_ch = <0 1 2 3>;
	flite_ch = <FLITE_ID_NOTHING>;
	is_bns = <0>;
	status = "okay";
};

